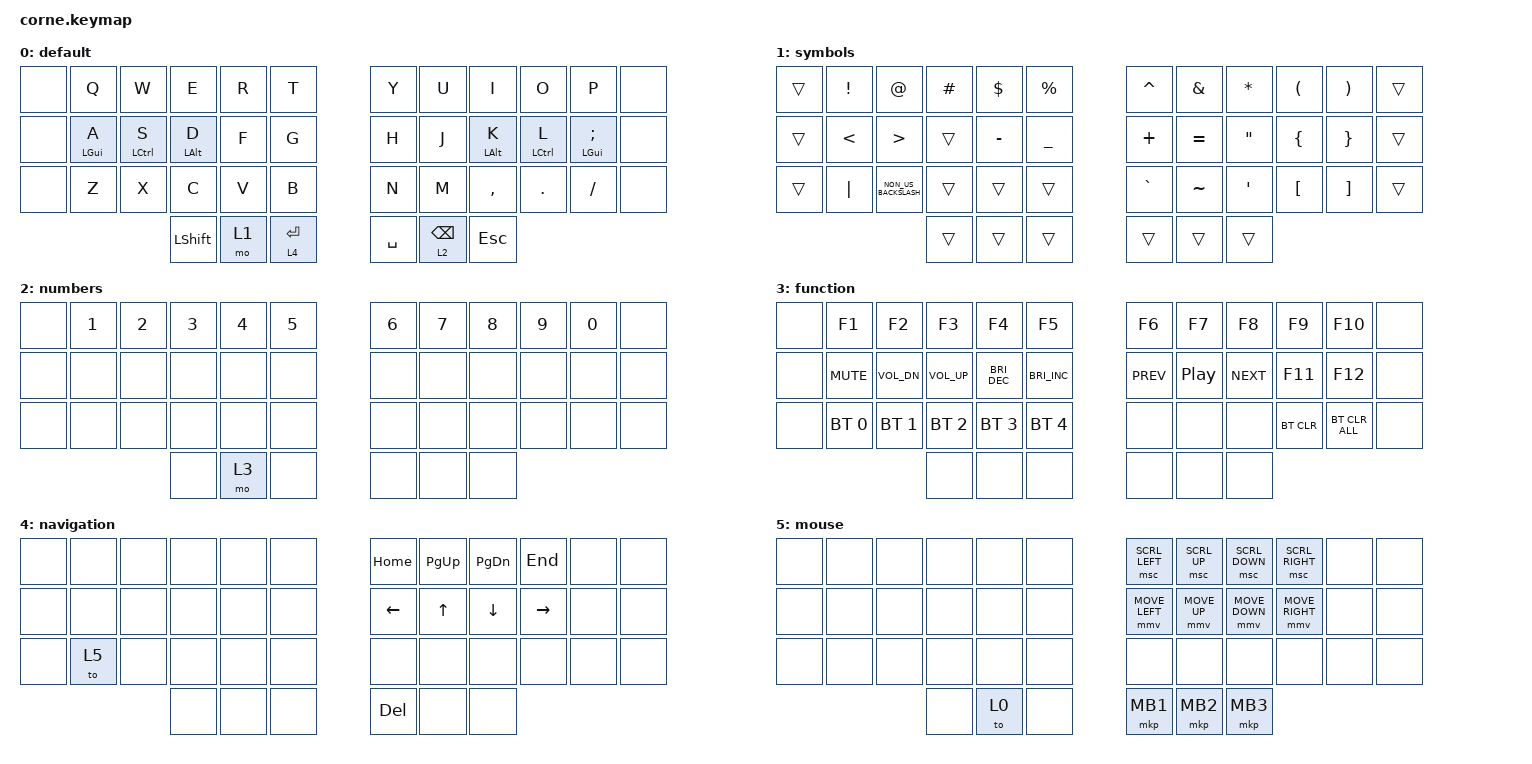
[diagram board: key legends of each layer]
/*
 * Copyright (c) 2020 The ZMK Contributors
 *
 * SPDX-License-Identifier: MIT
 */
// Should be before including header for pointing 

#define ZMK_POINTING_DEFAULT_MOVE_VAL 1100  // default: 600
#define ZMK_POINTING_DEFAULT_SCRL_VAL 30    // default: 10

#include <behaviors.dtsi>
#include <dt-bindings/zmk/bt.h>
#include <dt-bindings/zmk/keys.h>
#include <dt-bindings/zmk/pointing.h>

&mt { flavor = "tap-preferred"; };

/ {
    combos {
        compatible = "zmk,combos";

        caps_lock {
            bindings = <&kp CAPSLOCK>;
            key-positions = <17 18>;
            layers = <0>;
        };

        escape {
            bindings = <&kp ESCAPE>;
            key-positions = <19 20>;
            layers = <0>;
            timeout-ms = <220>;
        };
    };

    behaviors {
        hm: hm {
            compatible = "zmk,behavior-hold-tap";
            label = "HM";
            bindings = <&kp>, <&kp>;

            #binding-cells = <2>;
            tapping-term-ms = <200>;
            flavor = "tap-preferred";
            quick-tap-ms = <0>;
        };
    };

    keymap {
        compatible = "zmk,keymap";

        default {
            bindings = <
&none  &kp Q           &kp W               &kp E           &kp R  &kp T          &kp Y      &kp U            &kp I           &kp O               &kp P              &none
&none  &hm LEFT_GUI A  &hm LEFT_CONTROL S  &hm LEFT_ALT D  &kp F  &kp G          &kp H      &kp J            &hm LEFT_ALT K  &hm LEFT_CONTROL L  &hm LEFT_GUI SEMI  &none
&none  &kp Z           &kp X               &kp C           &kp V  &kp B          &kp N      &kp M            &kp COMMA       &kp DOT             &kp FSLH           &none
                                           &kp LEFT_SHIFT  &mo 1  &lt 4 ENTER    &kp SPACE  &lt 2 BACKSPACE  &kp ESCAPE
            >;
        };

        symbols {
            bindings = <
&trans  &kp EXCLAMATION  &kp AT_SIGN           &kp HASH  &kp DOLLAR  &kp PERCENT       &kp CARET  &kp AMPERSAND  &kp ASTERISK       &kp LEFT_PARENTHESIS  &kp RIGHT_PARENTHESIS  &trans
&trans  &kp LESS_THAN    &kp GREATER_THAN      &trans    &kp MINUS   &kp UNDERSCORE    &kp PLUS   &kp EQUAL      &kp DOUBLE_QUOTES  &kp LEFT_BRACE        &kp RIGHT_BRACE        &trans
&trans  &kp PIPE         &kp NON_US_BACKSLASH  &trans    &trans      &trans            &kp GRAVE  &kp TILDE      &kp SQT            &kp LEFT_BRACKET      &kp RIGHT_BRACKET      &trans
                                               &trans    &trans      &trans            &trans     &trans         &trans
            >;
        };

        numbers {
            bindings = <
&none  &kp N1  &kp N2  &kp N3  &kp N4  &kp N5    &kp N6  &kp N7  &kp N8  &kp N9  &kp N0  &none
&none  &none   &none   &none   &none   &none     &none   &none   &none   &none   &none   &none
&none  &none   &none   &none   &none   &none     &none   &none   &none   &none   &none   &none
                       &none   &mo 3   &none     &none   &none   &none
            >;
        };

        function {
            bindings = <
&none  &kp F1        &kp F2        &kp F3           &kp F4                &kp F5                  &kp F6      &kp F7            &kp F8      &kp F9      &kp F10         &none
&none  &kp K_MUTE    &kp C_VOL_DN  &kp C_VOLUME_UP  &kp C_BRIGHTNESS_DEC  &kp C_BRIGHTNESS_INC    &kp C_PREV  &kp C_PLAY_PAUSE  &kp C_NEXT  &kp F11     &kp F12         &none
&none  &bt BT_SEL 0  &bt BT_SEL 1  &bt BT_SEL 2     &bt BT_SEL 3          &bt BT_SEL 4            &none       &none             &none       &bt BT_CLR  &bt BT_CLR_ALL  &none
                                   &none            &none                 &none                   &none       &none             &none
            >;
        };

        navigation {
            bindings = <
&none  &none  &none  &none  &none  &none    &kp HOME    &kp PAGE_UP   &kp PAGE_DOWN   &kp END    &none  &none
&none  &none  &none  &none  &none  &none    &kp LEFT    &kp UP_ARROW  &kp DOWN_ARROW  &kp RIGHT  &none  &none
&none  &to 5  &none  &none  &none  &none    &none       &none         &none           &none      &none  &none
                     &none  &none  &none    &kp DELETE  &none         &none
            >;
        };

        mouse {
            bindings = <
&none  &none  &none  &none  &none  &none    &msc SCRL_LEFT  &msc SCRL_UP  &msc SCRL_DOWN  &msc SCRL_RIGHT  &none  &none
&none  &none  &none  &none  &none  &none    &mmv MOVE_LEFT  &mmv MOVE_UP  &mmv MOVE_DOWN  &mmv MOVE_RIGHT  &none  &none
&none  &none  &none  &none  &none  &none    &none           &none         &none           &none            &none  &none
                     &none  &to 0  &none    &mkp MB1        &mkp MB2      &mkp MB3
            >;
        };
    };
};
